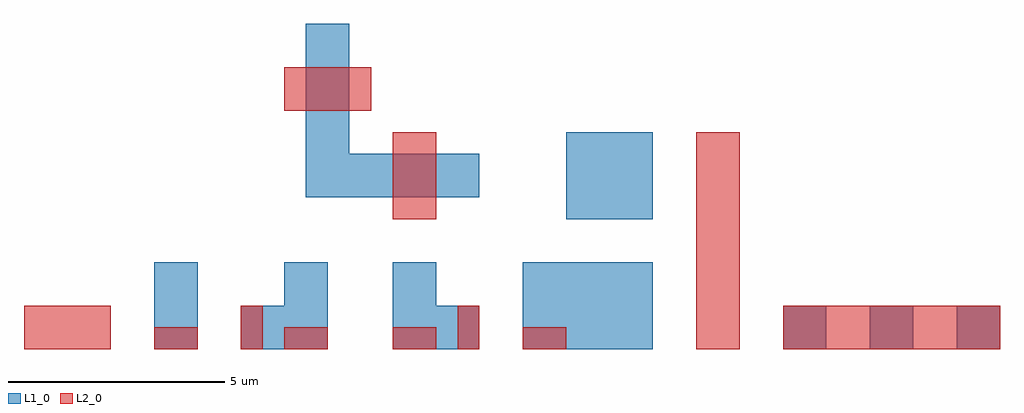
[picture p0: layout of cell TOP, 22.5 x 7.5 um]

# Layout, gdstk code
from math import pi, radians
import gdstk
lib = gdstk.Library(unit=1e-6, precision=1e-09)
def R(c, l, rs):  # rectangles x0, y0, x1, y1
    for r in rs: c.add(gdstk.rectangle(r[:2], r[2:], *l))
def A(c, l, x, y, w, h, nx, ny, dx, dy):  # array of equal rectangles
    R(c, l, [(x+i*dx, y+j*dy, x+i*dx+w, y+j*dy+h) for i in range(nx) for j in range(ny)])
L1_0 = (1, 0)
L2_0 = (2, 0)

part = lib.new_cell('PART')
R(part, L1_0, [(0,0,1,2)])
R(part, L2_0, [(0,0,1,0.5)])

child = lib.new_cell('CHILD')
child.add(gdstk.Reference(part, (0,0)))
child.add(gdstk.Reference(part, (3,0)))
child.add(gdstk.Reference(part, (2,0), rotation=pi/2))

top = lib.new_cell('TOP')
A(top, L1_0, 9, 0, 1, 1, 3, 1, 2, 0)
R(top, L1_0, [(4,0,6,2), (4,3,6,5), (-2,3.5,-1,7.5), (-2,3.5,2,4.5)])
R(top, L2_0, [(-8.5,0,-6.5,1), (7,0,8,5), (9,0,14,1), (0,3,1,5), (-2.5,5.5,-0.5,6.5)])
top.add(gdstk.Reference(child, (0,0)))
top.add(gdstk.Reference(child, (-1.5,0), rotation=pi, x_reflection=True))

lib.write_gds('TOP.gds')
